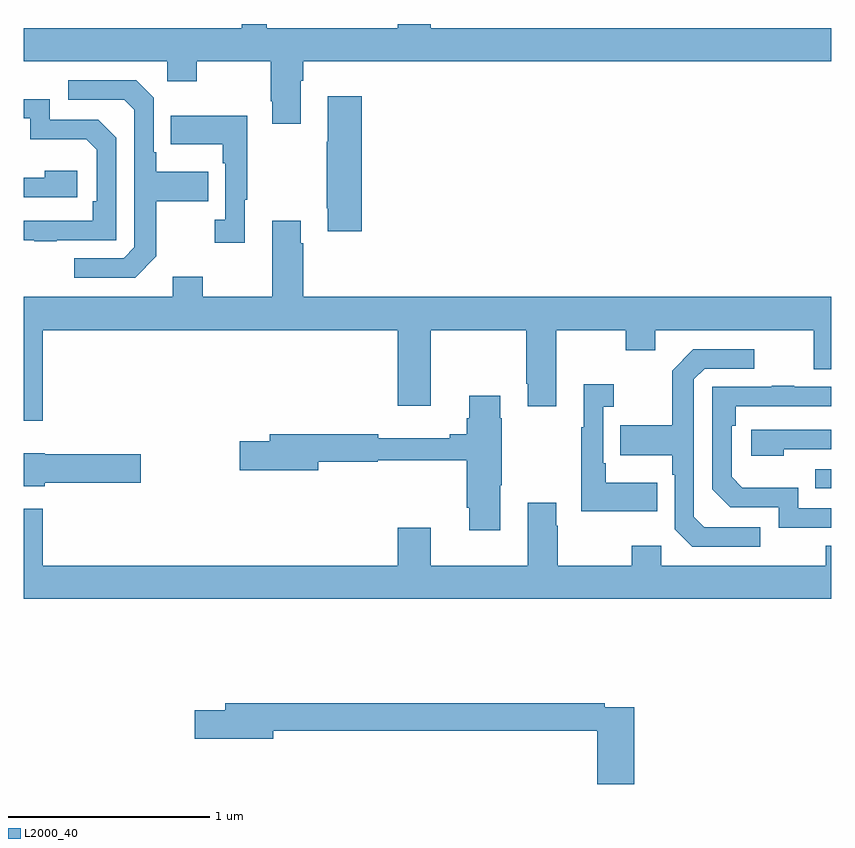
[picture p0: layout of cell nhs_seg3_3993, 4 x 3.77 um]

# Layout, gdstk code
import gdstk
lib = gdstk.Library(unit=1e-6, precision=1e-09)
def R(c, l, rs):  # rectangles x0, y0, x1, y1
    for r in rs: c.add(gdstk.rectangle(r[:2], r[2:], *l))
def P(c, l, *ps):  # polygons
    for p in ps: c.add(gdstk.Polygon(p, *l))
L2000_40 = (2000, 40)

nhs_seg3_3993 = lib.new_cell('nhs_seg3_3993')
R(nhs_seg3_3993, L2000_40, [(322.921,732.099,323,732.195)])
P(nhs_seg3_3993, L2000_40, [(320.371,734.12),(320.384,734.12),(320.384,734.216),(323,734.216),(323,734.38),(321.016,734.38),(321.016,734.4),(320.852,734.4),(320.852,734.38),(320.203,734.38),(320.203,734.4),(320.081,734.4),(320.081,734.38),(319,734.38),(319,734.216),(319.71,734.216),(319.71,734.117),(319.857,734.117),(319.857,734.216),(320.224,734.216),(320.224,734.017),(320.231,734.017),(320.231,733.905),(320.371,733.905)],
  [(319.657,733.249),(319.657,733.522),(319.913,733.522),(319.913,733.669),(319.657,733.669),(319.657,733.765),(319.644,733.765),(319.644,734.034),(319.557,734.121),(319.221,734.121),(319.221,734.025),(319.497,734.025),(319.548,733.974),(319.548,733.293),(319.494,733.239),(319.251,733.239),(319.251,733.143),(319.551,733.143)],
  [(320.675,734.041),(320.507,734.041),(320.507,733.817),(320.5,733.817),(320.5,733.486),(320.507,733.486),(320.507,733.374),(320.675,733.374)],
  [(319.163,733.329),(319.458,733.329),(319.458,733.836),(319.368,733.926),(319.128,733.926),(319.128,734.028),(319,734.028),(319,733.932),(319.032,733.932),(319.032,733.829),(319.309,733.829),(319.362,733.776),(319.362,733.522),(319.342,733.522),(319.342,733.425),(319,733.425),(319,733.329),(319.051,733.329),(319.051,733.324),(319.163,733.324)],
  [(320.095,733.529),(320.107,733.529),(320.107,733.945),(319.729,733.945),(319.729,733.805),(319.986,733.805),(319.986,733.709),(319.998,733.709),(319.998,733.43),(319.947,733.43),(319.947,733.317),(320.095,733.317)],
  [(319.264,733.672),(319.103,733.672),(319.103,733.638),(319,733.638),(319,733.542),(319.264,733.542)],
  [(319.093,732.884),(320.852,732.884),(320.852,732.51),(321.016,732.51),(321.016,732.884),(321.49,732.884),(321.49,732.619),(321.497,732.619),(321.497,732.507),(321.637,732.507),(321.637,732.884),(321.982,732.884),(321.982,732.785),(322.129,732.785),(322.129,732.884),(322.913,732.884),(322.913,732.69),(323,732.69),(323,733.048),(320.384,733.048),(320.384,733.313),(320.371,733.313),(320.371,733.426),(320.231,733.426),(320.231,733.048),(319.887,733.048),(319.887,733.147),(319.739,733.147),(319.739,733.048),(319,733.048),(319,732.435),(319.093,732.435)],
  [(322.648,731.907),(322.371,731.907),(322.32,731.958),(322.32,732.639),(322.374,732.693),(322.618,732.693),(322.618,732.789),(322.317,732.789),(322.212,732.683),(322.212,732.411),(321.955,732.411),(321.955,732.263),(322.212,732.263),(322.212,732.167),(322.224,732.167),(322.224,731.898),(322.311,731.811),(322.648,731.811)],
  [(322.139,732.127),(321.883,732.127),(321.883,732.223),(321.87,732.223),(321.87,732.503),(321.922,732.503),(321.922,732.616),(321.773,732.616),(321.773,732.403),(321.762,732.403),(321.762,731.987),(322.139,731.987)],
  [(323,732),(322.836,732),(322.836,732.103),(322.559,732.103),(322.506,732.156),(322.506,732.41),(322.526,732.41),(322.526,732.507),(323,732.507),(323,732.603),(322.817,732.603),(322.817,732.608),(322.705,732.608),(322.705,732.603),(322.41,732.603),(322.41,732.096),(322.5,732.006),(322.74,732.006),(322.74,731.904),(323,731.904)],
  [(321.361,732.115),(321.369,732.115),(321.369,732.446),(321.361,732.446),(321.361,732.559),(321.206,732.559),(321.206,732.446),(321.194,732.446),(321.194,732.368),(321.11,732.368),(321.11,732.349),(320.756,732.349),(320.756,732.368),(320.219,732.368),(320.219,732.332),(320.07,732.332),(320.07,732.19),(320.458,732.19),(320.458,732.232),(320.754,732.232),(320.754,732.24),(321.194,732.24),(321.194,732.004),(321.206,732.004),(321.206,731.892),(321.361,731.892)],
  [(322.766,732.294),(323,732.294),(323,732.39),(322.605,732.39),(322.605,732.26),(322.766,732.26)],
  [(319.104,732.127),(319.579,732.127),(319.579,732.269),(319.104,732.269),(319.104,732.274),(319,732.274),(319,732.11),(319.104,732.11)],
  [(323,731.815),(322.972,731.815),(322.972,731.716),(322.158,731.716),(322.158,731.815),(322.012,731.815),(322.012,731.716),(321.645,731.716),(321.645,731.915),(321.637,731.915),(321.637,732.028),(321.497,732.028),(321.497,731.716),(321.016,731.716),(321.016,731.905),(320.852,731.905),(320.852,731.716),(319.093,731.716),(319.093,731.998),(319,731.998),(319,731.552),(323,731.552)],
  [(322.025,731.016),(321.878,731.016),(321.878,731.036),(319.997,731.036),(319.997,731),(319.848,731),(319.848,730.858),(320.236,730.858),(320.236,730.9),(321.842,730.9),(321.842,730.635),(322.025,730.635)])

lib.write_gds('nhs_seg3_3993.gds')
